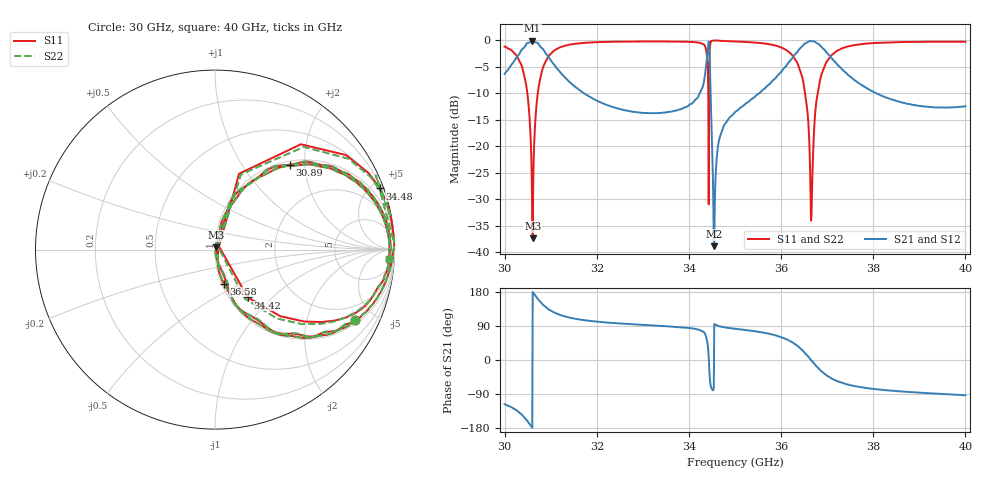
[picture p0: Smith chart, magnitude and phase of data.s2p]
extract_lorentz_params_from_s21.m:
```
%%%%%%%%%%%%%%%%%%%%%%%%%%%%%%%%%%%%%%%%%%%%%%%%%%%%%%%%%%%%%%%%%%%%%%%%%%
% 从CST S21数据提取Lorentz模型参数
% 功能: 直接拟合S21数据获取f_res和gamma的"真实值"，用于验证MCMC反演
%%%%%%%%%%%%%%%%%%%%%%%%%%%%%%%%%%%%%%%%%%%%%%%%%%%%%%%%%%%%%%%%%%%%%%%%%%

clc; clear; close all;

%% 1. 读取S参数数据
s2p_file = fullfile(fileparts(mfilename('fullpath')),  'data', 'data.s2p');
[f_cst, S11, S21, S12, S22] = read_s2p_touchstone(s2p_file);

fprintf('========================================\n');
fprintf('从S21数据提取Lorentz参数\n');
fprintf('========================================\n');

%% 2. 方法1: 从S21幅度曲线直接提取
S21_mag = abs(S21);
S21_dB = 20*log10(S21_mag);

% 谐振频率 = S21最小值点
[S21_min, idx_res] = min(S21_mag);
f_res_direct = f_cst(idx_res);

fprintf('\n--- 方法1: 直接从S21曲线提取 ---\n');
fprintf('谐振频率 f_res = %.4f GHz (S21最小点)\n', f_res_direct/1e9);
fprintf('S21谐振处幅度 = %.2f dB\n', S21_dB(idx_res));

% 3dB带宽估计gamma
S21_3dB_level = S21_min * sqrt(2);  % -3dB点
idx_above_3dB = find(S21_mag > S21_3dB_level);

% 找谐振点左侧和右侧的-3dB点
idx_left = max(idx_above_3dB(idx_above_3dB < idx_res));
idx_right = min(idx_above_3dB(idx_above_3dB > idx_res));

if ~isempty(idx_left) && ~isempty(idx_right)
    BW_3dB = f_cst(idx_right) - f_cst(idx_left);
    gamma_direct = BW_3dB / 2;  % 对于Lorentz谐振，HWHM ≈ gamma
    fprintf('-3dB带宽 = %.4f GHz\n', BW_3dB/1e9);
    fprintf('阻尼因子 gamma ≈ %.4f GHz (HWHM)\n', gamma_direct/1e9);
else
    gamma_direct = 0.5e9;  % 默认值
    fprintf('无法从-3dB带宽估计gamma，使用默认值\n');
end

%% 3. 方法2: 非线性最小二乘拟合S21
fprintf('\n--- 方法2: Lorentz模型直接拟合S21 ---\n');

% 选择拟合频率范围 (谐振附近)
fit_range = (f_cst >= 33e9) & (f_cst <= 36e9);
f_fit = f_cst(fit_range);
S21_fit = S21_mag(fit_range);

% 归一化以便拟合
S21_norm = S21_fit / max(S21_fit);

% Lorentz谐振形状拟合
lorentz_model = @(p, f) 1 ./ sqrt(1 + ((f.^2 - p(1)^2) ./ (p(2)*f)).^2);

% 初始猜测
p0 = [f_res_direct, gamma_direct];

% 拟合选项
opts = optimoptions('lsqcurvefit', 'Display', 'off', 'MaxIterations', 1000);
lb = [33e9, 0.01e9];
ub = [36e9, 5e9];

try
    [p_fit, resnorm] = lsqcurvefit(lorentz_model, p0, f_fit, S21_norm, lb, ub, opts);
    f_res_fit = p_fit(1);
    gamma_fit = p_fit(2);
    
    fprintf('拟合结果:\n');
    fprintf('  f_res = %.4f GHz\n', f_res_fit/1e9);
    fprintf('  gamma = %.4f GHz\n', gamma_fit/1e9);
    fprintf('  残差范数 = %.6f\n', resnorm);
catch ME
    fprintf('拟合失败: %s\n', ME.message);
    f_res_fit = f_res_direct;
    gamma_fit = gamma_direct;
end

%% 4. 综合结果
fprintf('\n========================================\n');
fprintf('综合结果汇总\n');
fprintf('========================================\n');
fprintf('方法          |  f_res (GHz)  |  gamma (GHz)\n');
fprintf('----------------------------------------\n');
fprintf('S21幅度最小   |  %.4f      |  %.4f\n', f_res_direct/1e9, gamma_direct/1e9);
fprintf('Lorentz拟合   |  %.4f      |  %.4f\n', f_res_fit/1e9, gamma_fit/1e9);
fprintf('----------------------------------------\n');

% 最佳估计（取平均）
f_res_best = mean([f_res_direct, f_res_fit]);
gamma_best = mean([gamma_direct, gamma_fit]);

fprintf('\n★ 推荐参数 (用于对比MCMC结果):\n');
fprintf('  f_res = %.4f GHz\n', f_res_best/1e9);
fprintf('  gamma = %.4f GHz\n', gamma_best/1e9);

%% 5. 可视化
figure('Position', [100, 100, 900, 400]);

% S21幅度
subplot(1,2,1);
plot(f_cst/1e9, S21_dB, 'b', 'LineWidth', 1.5);
hold on;
xline(f_res_direct/1e9, 'r--', 'LineWidth', 2);
if ~isempty(idx_left) && ~isempty(idx_right)
    xline(f_cst(idx_left)/1e9, 'g:', 'LineWidth', 1.5);
    xline(f_cst(idx_right)/1e9, 'g:', 'LineWidth', 1.5);
end
xlabel('频率 (GHz)', 'FontName', 'SimHei');
ylabel('|S21| (dB)', 'FontName', 'SimHei');
title('S21幅度响应', 'FontName', 'SimHei');
grid on; 
legend('S21', sprintf('f_{res}=%.2f GHz', f_res_direct/1e9), '-3dB边界');

% S21相位
subplot(1,2,2);
phase_cst = unwrap(angle(S21));
plot(f_cst/1e9, rad2deg(phase_cst), 'b', 'LineWidth', 1.5);
hold on;
xline(f_res_direct/1e9, 'r--', 'LineWidth', 2);
xlabel('频率 (GHz)', 'FontName', 'SimHei');
ylabel('∠S21 (°)', 'FontName', 'SimHei');
title('S21相位响应', 'FontName', 'SimHei');
grid on;

sgtitle('CST S21数据分析 - Lorentz参数提取', 'FontSize', 14, 'FontWeight', 'bold', 'FontName', 'SimHei');

fprintf('\n绘图完成!\n');

%% =========================================================================
%  局部函数
%  =========================================================================

function [f_Hz, S11, S21, S12, S22] = read_s2p_touchstone(filename)
    fid = fopen(filename, 'r');
    if fid == -1, error('无法打开文件: %s', filename); end
    
    freq_unit_factor = 1e9;
    format_type = 'MA';
    data = [];
    
    while ~feof(fid)
        line = fgetl(fid);
        if isempty(line), continue; end
        if line(1) == '!', continue; end
        if line(1) == '#'
            tokens = strsplit(upper(line));
            if any(strcmp(tokens, 'HZ')), freq_unit_factor = 1; end
            if any(strcmp(tokens, 'KHZ')), freq_unit_factor = 1e3; end
            if any(strcmp(tokens, 'MHZ')), freq_unit_factor = 1e6; end
            if any(strcmp(tokens, 'GHZ')), freq_unit_factor = 1e9; end
            if any(strcmp(tokens, 'RI')), format_type = 'RI'; end
            if any(strcmp(tokens, 'MA')), format_type = 'MA'; end
            if any(strcmp(tokens, 'DB')), format_type = 'DB'; end
            continue;
        end
        values = sscanf(line, '%f');
        if length(values) >= 9
            data = [data; values(1:9)'];
        end
    end
    fclose(fid);
    
    f_Hz = data(:, 1) * freq_unit_factor;
    
    if strcmp(format_type, 'MA')
        S11 = data(:, 2) .* exp(1i * data(:, 3) * pi / 180);
        S21 = data(:, 4) .* exp(1i * data(:, 5) * pi / 180);
        S12 = data(:, 6) .* exp(1i * data(:, 7) * pi / 180);
        S22 = data(:, 8) .* exp(1i * data(:, 9) * pi / 180);
    elseif strcmp(format_type, 'RI')
        S11 = data(:, 2) + 1i * data(:, 3);
        S21 = data(:, 4) + 1i * data(:, 5);
        S12 = data(:, 6) + 1i * data(:, 7);
        S22 = data(:, 8) + 1i * data(:, 9);
    elseif strcmp(format_type, 'DB')
        S11 = 10.^(data(:, 2)/20) .* exp(1i * data(:, 3) * pi / 180);
        S21 = 10.^(data(:, 4)/20) .* exp(1i * data(:, 5) * pi / 180);
        S12 = 10.^(data(:, 6)/20) .* exp(1i * data(:, 7) * pi / 180);
        S22 = 10.^(data(:, 8)/20) .* exp(1i * data(:, 9) * pi / 180);
    end
end
```
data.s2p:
! TOUCHSTONE file generated by CST MICROWAVE STUDIO
! Date and time: Mon Jan 19 02:11:50 2026
! Project name: CSRR_WR28_Lorentz.cst
! Header version: 2018
! Port assignment regex: !\s*Touchstone port\s*([0-9]+)\s*=\s*(CST MWS port|CST DS port)\s*([0-9]+|Zmin|Zmax)\s*\(\"(.*)\"\)(\s*mode\s*([0-9]+))?.*
! Touchstone port assignment:
! Touchstone port 1 = CST MWS port 1 ("Port1")
! Touchstone port 2 = CST MWS port 2 ("Port2")
# GHz S MA R 50
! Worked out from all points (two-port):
!   1001 points, 30 GHz to 40 GHz, reference 50 ohm
!   highest |S21| = -0.03 dB at 30.6 GHz (marker M1); lowest = -38.9 dB at 34.54 GHz (marker M2)
!   |S21| within 3 dB of the highest: 30.27 GHz to 30.95 GHz (672.3 MHz wide, 2.2 % of centre); 36.27 GHz to 37.07 GHz (800.9 MHz wide, 2.18 % of centre)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
!   lowest |S11| = -37.4 dB at 30.61 GHz (marker M3), VSWR 1.03, Z = 50.7 + j1.2 ohm
!   |S11| at or under -10 dB: 30.49 GHz to 30.72 GHz (224.8 MHz wide, 0.734 % of centre); 34.42009 GHz to 34.43877 GHz (18.68 MHz wide, 0.0543 % of centre); 36.52 GHz to 36.8 GHz (275.8 MHz wide, 0.752 % of centre)
!   |S22| runs from -38.4 to 0.0 dB; largest |S21 - S12| = 1.7e-06
!   S11 on the Smith chart (normalised r, x): 30 GHz: 1.19, -3.91; 30.89 GHz: 1.07, +1.68; 34.42 GHz: 1.21, -0.72; 34.48 GHz: 0.33, +5.56; 36.58 GHz: 1.02, -0.40; 40 GHz: 16, -29
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30  0.8736 -26.5  0.4835 -116.8  0.4835 -116.8  0.8736 -26.6
30.6  0.01867 -70.5  0.9965 -178.6  0.9965 -178.6  0.01776 -86.4
30.61  0.01354 60.7  0.9957 179.6  0.9957 179.6  0.01199 81.0
30.89  0.6309 48.6  0.755 140.3  0.755 140.3  0.631 48.3
34.42  0.3229 -55.5  0.9046 25.5  0.9046 25.5  0.3206 -58.7
34.48  0.9796 20.3  0.2334 -71.4  0.2334 -71.4  0.9793 19.5
34.54  0.9966 6.6  0.01141 -72.6  0.01141 -72.6  0.9869 24.8
35  0.977 -7.6  0.2103 82.3  0.2103 82.3  0.977 -7.6
36.58  0.1961 -75.3  0.9665 10.6  0.9665 10.6  0.1961 -75.3
37.04  0.6729 44.6  0.7282 -44.5  0.7282 -44.5  0.6729 44.6
40  0.9709 -3.0  0.2386 -93.1  0.2386 -93.1  0.9709 -3.1
